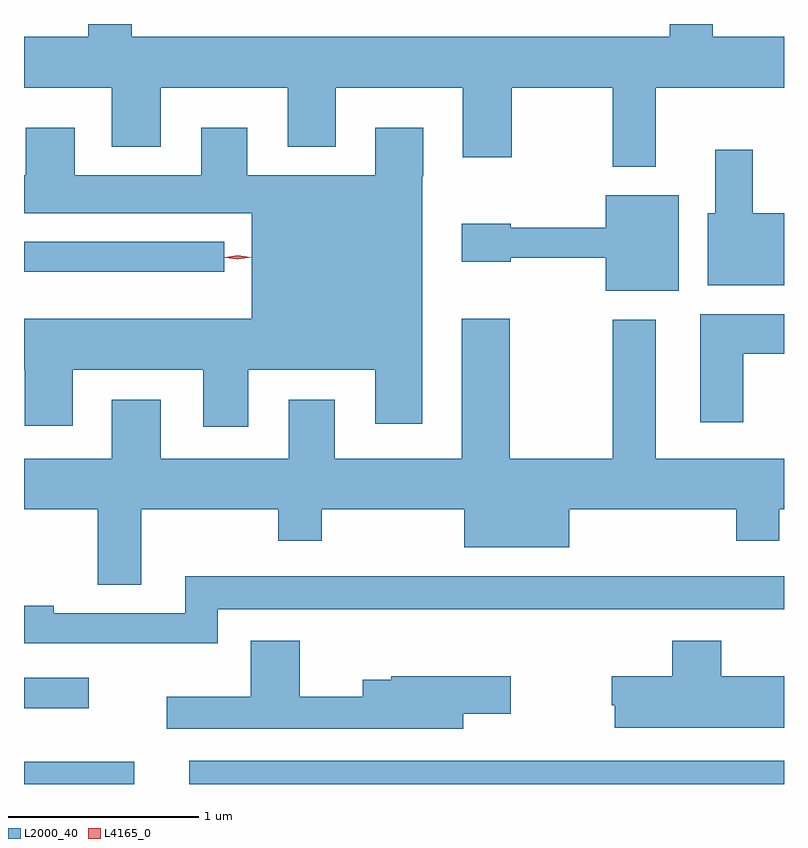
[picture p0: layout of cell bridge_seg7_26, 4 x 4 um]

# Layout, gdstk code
import gdstk
lib = gdstk.Library(unit=1e-6, precision=1e-09)
def R(c, l, rs):  # rectangles x0, y0, x1, y1
    for r in rs: c.add(gdstk.rectangle(r[:2], r[2:], *l))
def P(c, l, *ps):  # polygons
    for p in ps: c.add(gdstk.Polygon(p, *l))
L2000_40 = (2000, 40)
L4165_0 = (4165, 0)

bridge_seg7_26 = lib.new_cell('bridge_seg7_26')
R(bridge_seg7_26, L2000_40, [(1865.753,1779.471,1866.334,1779.589), (1866.623,1779.471,1869.753,1779.594), (1865.753,1779.871,1866.093,1780.029), (1865.753,1782.166,1866.808,1782.324)])
P(bridge_seg7_26, L2000_40, [(1869.079,1783.136),(1869.753,1783.136),(1869.753,1783.404),(1869.379,1783.404),(1869.379,1783.471),(1869.151,1783.471),(1869.151,1783.404),(1866.319,1783.404),(1866.319,1783.471),(1866.091,1783.471),(1866.091,1783.404),(1865.753,1783.404),(1865.753,1783.136),(1866.216,1783.136),(1866.216,1782.826),(1866.474,1782.826),(1866.474,1783.136),(1867.141,1783.136),(1867.141,1782.826),(1867.394,1782.826),(1867.394,1783.136),(1868.061,1783.136),(1868.061,1782.771),(1868.319,1782.771),(1868.319,1783.136),(1868.851,1783.136),(1868.851,1782.721),(1869.079,1782.721)],
  [(1866.934,1781.651),(1867.601,1781.651),(1867.601,1781.366),(1867.849,1781.366),(1867.849,1782.67),(1867.854,1782.67),(1867.854,1782.924),(1867.601,1782.924),(1867.601,1782.674),(1866.929,1782.674),(1866.929,1782.924),(1866.686,1782.924),(1866.686,1782.674),(1866.019,1782.674),(1866.019,1782.924),(1865.761,1782.924),(1865.761,1782.674),(1865.753,1782.674),(1865.753,1782.476),(1866.951,1782.476),(1866.951,1781.919),(1865.753,1781.919),(1865.753,1781.651),(1865.756,1781.651),(1865.756,1781.356),(1866.009,1781.356),(1866.009,1781.651),(1866.696,1781.651),(1866.696,1781.351),(1866.934,1781.351)],
  [(1869.753,1782.474),(1869.589,1782.474),(1869.589,1782.809),(1869.391,1782.809),(1869.391,1782.474),(1869.351,1782.474),(1869.351,1782.096),(1869.753,1782.096)],
  [(1869.199,1782.569),(1868.816,1782.569),(1868.816,1782.399),(1868.314,1782.399),(1868.314,1782.419),(1868.056,1782.419),(1868.056,1782.221),(1868.314,1782.221),(1868.314,1782.241),(1868.816,1782.241),(1868.816,1782.066),(1869.199,1782.066)],
  [(1869.539,1781.736),(1869.753,1781.736),(1869.753,1781.944),(1869.311,1781.944),(1869.311,1781.376),(1869.539,1781.376)],
  [(1866.369,1780.916),(1867.091,1780.916),(1867.091,1780.751),(1867.319,1780.751),(1867.319,1780.916),(1868.071,1780.916),(1868.071,1780.716),(1868.624,1780.716),(1868.624,1780.916),(1869.501,1780.916),(1869.501,1780.751),(1869.729,1780.751),(1869.729,1780.916),(1869.753,1780.916),(1869.753,1781.184),(1869.079,1781.184),(1869.079,1781.914),(1868.851,1781.914),(1868.851,1781.184),(1868.309,1781.184),(1868.309,1781.919),(1868.056,1781.919),(1868.056,1781.184),(1867.389,1781.184),(1867.389,1781.494),(1867.146,1781.494),(1867.146,1781.184),(1866.474,1781.184),(1866.474,1781.494),(1866.216,1781.494),(1866.216,1781.184),(1865.753,1781.184),(1865.753,1780.916),(1866.141,1780.916),(1866.141,1780.521),(1866.369,1780.521)],
  [(1866.774,1780.391),(1869.753,1780.391),(1869.753,1780.564),(1866.601,1780.564),(1866.601,1780.369),(1865.909,1780.369),(1865.909,1780.409),(1865.753,1780.409),(1865.753,1780.211),(1866.774,1780.211)],
  [(1869.753,1780.039),(1869.424,1780.039),(1869.424,1780.224),(1869.166,1780.224),(1869.166,1780.039),(1868.846,1780.039),(1868.846,1779.885),(1868.861,1779.885),(1868.861,1779.766),(1869.753,1779.766)],
  [(1868.064,1779.841),(1868.314,1779.841),(1868.314,1780.039),(1867.686,1780.039),(1867.686,1780.019),(1867.536,1780.019),(1867.536,1779.929),(1867.204,1779.929),(1867.204,1780.224),(1866.946,1780.224),(1866.946,1779.929),(1866.503,1779.929),(1866.503,1779.761),(1868.064,1779.761)])
P(bridge_seg7_26, L4165_0, [(1866.879,1782.233),(1866.81,1782.243),(1866.809,1782.243),(1866.81,1782.244),(1866.879,1782.253),(1866.947,1782.244),(1866.948,1782.243),(1866.947,1782.243)],
  [(1866.875,1782.232),(1866.813,1782.242),(1866.813,1782.242),(1866.813,1782.242),(1866.875,1782.252),(1866.937,1782.242),(1866.937,1782.242),(1866.937,1782.242)])

lib.write_gds('bridge_seg7_26.gds')
